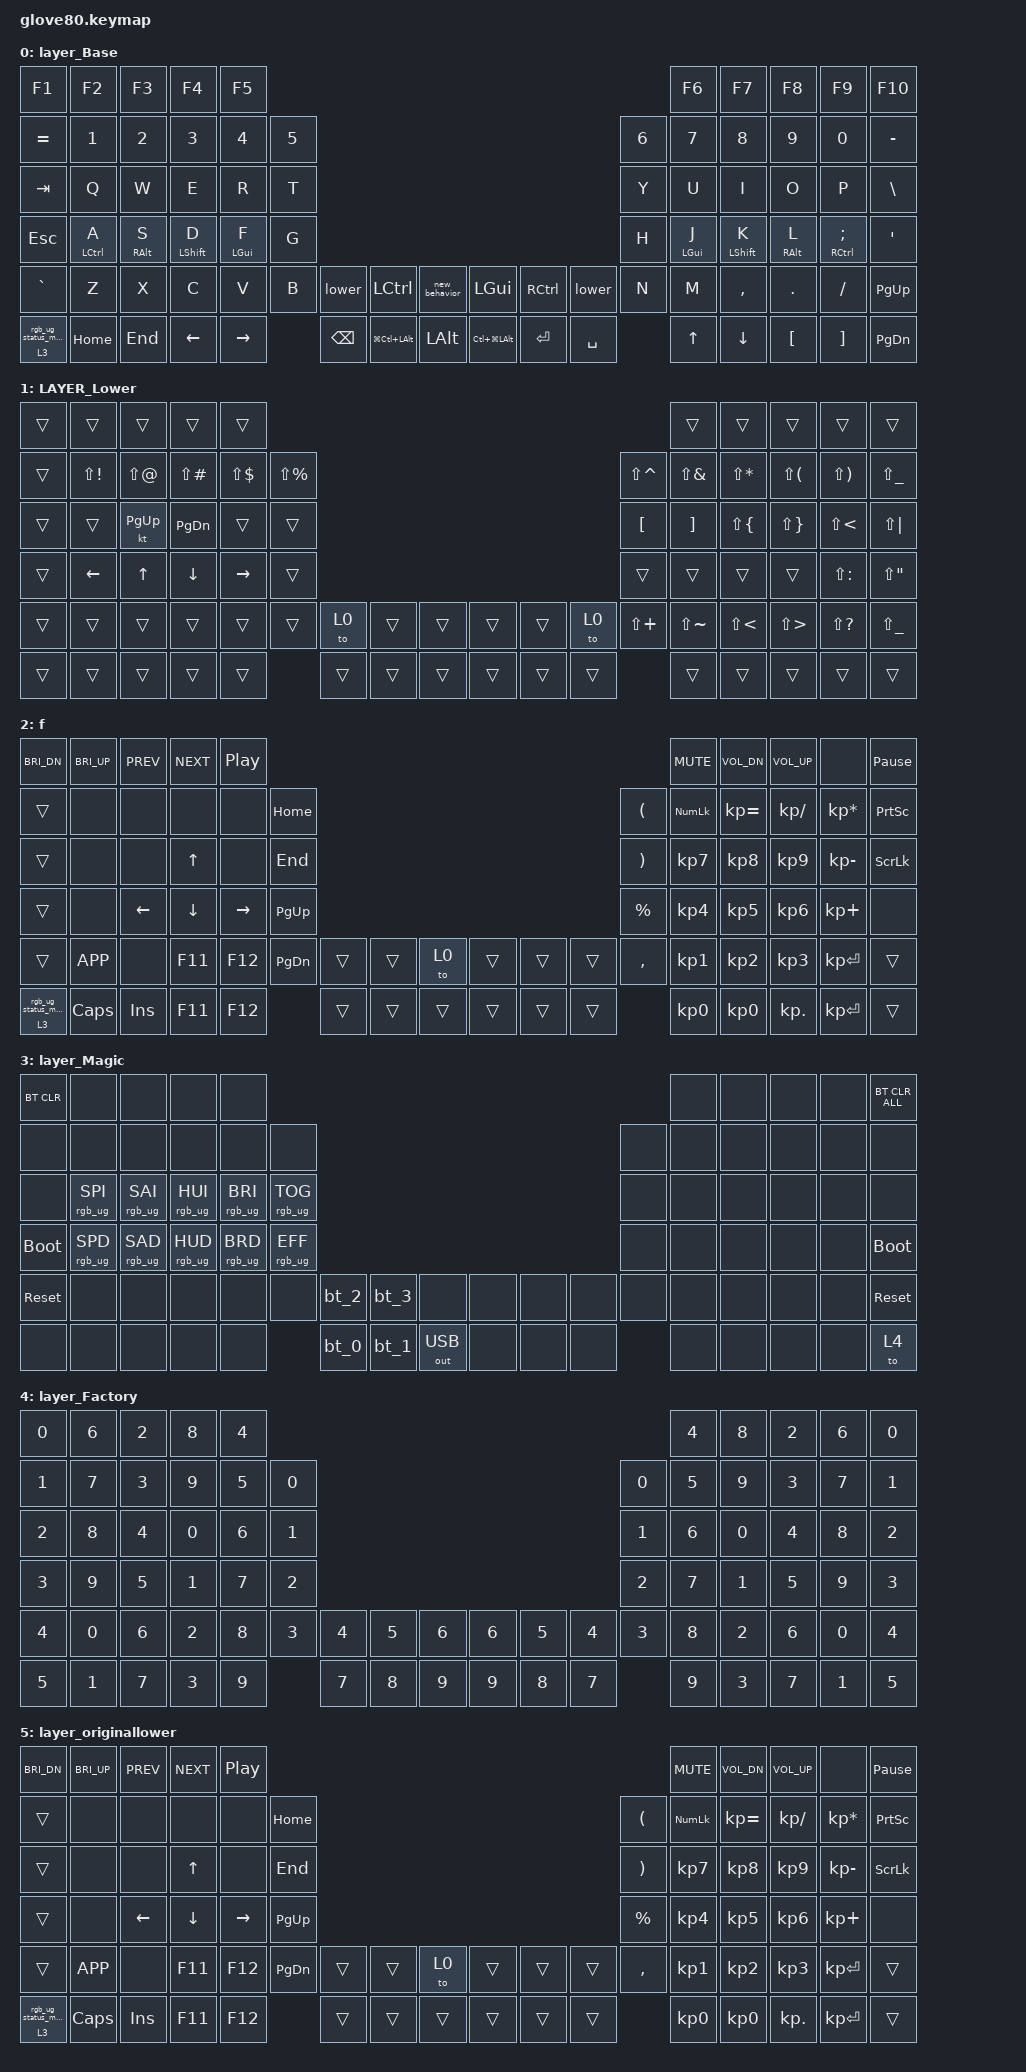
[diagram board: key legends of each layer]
/*
 * Copyright (c) 2020 The ZMK Contributors
 * Copyright (c) 2023 Innaworks Development Limited, trading as MoErgo
 *
 * SPDX-License-Identifier: MIT
 */
/* THIS FILE WAS GENERATED BY GLOVE80 LAYOUT EDITOR
 *
 * This file was generated automatically. You may or may not want to
 * edit it directly.
 */
/* Include all behaviour includes needed */

#include <behaviors.dtsi>
#include <dt-bindings/zmk/bt.h>
#include <dt-bindings/zmk/keys.h>
#include <dt-bindings/zmk/keys.h>
#include <dt-bindings/zmk/outputs.h>
#include <dt-bindings/zmk/rgb.h>

/* Automatically generated layer name #define */

#define LAYER_Base 0
#define LAYER_Lower 1
#define LAYER_Magic 2
#define LAYER_Factory 3
#define LAYER_originallower 4

/* Custom Device-tree */
/* Glove80 system behavior & macros */

/ {
    behaviors {
        // For the "layer" key, it'd nice to be able to use it as either a shift or a toggle.
        // Configure it as a tap dance, so the first tap (or hold) is a &mo and the second tap is a &to

        lower: lower {
            compatible = "zmk,behavior-tap-dance";
            label = "LAYER_TAP_DANCE";
            #binding-cells = <0>;
            tapping-term-ms = <200>;
            bindings = <&mo 1>, <&to 1>;
        };
    };
};

/ {
    macros {
        rgb_ug_status_macro: rgb_ug_status_macro {
            label = "RGB_UG_STATUS";
            compatible = "zmk,behavior-macro";
            #binding-cells = <0>;
            bindings = <&rgb_ug RGB_STATUS>;
        };
    };
};

/ {
    #ifdef BT_DISC_CMD

    behaviors {
        bt_0: bt_0 {
            compatible = "zmk,behavior-tap-dance";
            label = "BT_0";
            #binding-cells = <0>;
            tapping-term-ms = <200>;
            bindings = <&bt_select_0>, <&bt BT_DISC 0>;
        };

        bt_1: bt_1 {
            compatible = "zmk,behavior-tap-dance";
            label = "BT_1";
            #binding-cells = <0>;
            tapping-term-ms = <200>;
            bindings = <&bt_select_1>, <&bt BT_DISC 1>;
        };

        bt_2: bt_2 {
            compatible = "zmk,behavior-tap-dance";
            label = "BT_2";
            #binding-cells = <0>;
            tapping-term-ms = <200>;
            bindings = <&bt_select_2>, <&bt BT_DISC 2>;
        };

        bt_3: bt_3 {
            compatible = "zmk,behavior-tap-dance";
            label = "BT_3";
            #binding-cells = <0>;
            tapping-term-ms = <200>;
            bindings = <&bt_select_3>, <&bt BT_DISC 3>;
        };
    };

    macros {
        bt_select_0: bt_select_0 {
            label = "BT_SELECT_0";
            compatible = "zmk,behavior-macro";
            #binding-cells = <0>;
            bindings = <&out OUT_BLE &bt BT_SEL 0>;
        };

        bt_select_1: bt_select_1 {
            label = "BT_SELECT_1";
            compatible = "zmk,behavior-macro";
            #binding-cells = <0>;
            bindings = <&out OUT_BLE &bt BT_SEL 1>;
        };

        bt_select_2: bt_select_2 {
            label = "BT_SELECT_2";
            compatible = "zmk,behavior-macro";
            #binding-cells = <0>;
            bindings = <&out OUT_BLE &bt BT_SEL 2>;
        };

        bt_select_3: bt_select_3 {
            label = "BT_SELECT_3";
            compatible = "zmk,behavior-macro";
            #binding-cells = <0>;
            bindings = <&out OUT_BLE &bt BT_SEL 3>;
        };
    };

    #else

    macros {
        bt_0: bt_0 {
            label = "BT_0";
            compatible = "zmk,behavior-macro";
            #binding-cells = <0>;
            bindings = <&out OUT_BLE &bt BT_SEL 0>;
        };

        bt_1: bt_1 {
            label = "BT_1";
            compatible = "zmk,behavior-macro";
            #binding-cells = <0>;
            bindings = <&out OUT_BLE &bt BT_SEL 1>;
        };

        bt_2: bt_2 {
            label = "BT_2";
            compatible = "zmk,behavior-macro";
            #binding-cells = <0>;
            bindings = <&out OUT_BLE &bt BT_SEL 2>;
        };

        bt_3: bt_3 {
            label = "BT_3";
            compatible = "zmk,behavior-macro";
            #binding-cells = <0>;
            bindings = <&out OUT_BLE &bt BT_SEL 3>;
        };
    };

    #endif
};

/ {
    behaviors {
        magic: magic {
            compatible = "zmk,behavior-hold-tap";
            label = "MAGIC_HOLD_TAP";
            #binding-cells = <2>;
            flavor = "tap-preferred";
            tapping-term-ms = <200>;
            bindings = <&mo>, <&rgb_ug_status_macro>;
        };
    };
};

/* #define for key positions */

#define POS_LH_T1 52
#define POS_LH_T2 53
#define POS_LH_T3 54
#define POS_LH_T4 69
#define POS_LH_T5 70
#define POS_LH_T6 71
#define POS_LH_C1R2 15
#define POS_LH_C1R3 27
#define POS_LH_C1R4 39
#define POS_LH_C1R5 51
#define POS_LH_C2R1 4
#define POS_LH_C2R2 14
#define POS_LH_C2R3 26
#define POS_LH_C2R4 38
#define POS_LH_C2R5 50
#define POS_LH_C2R6 68
#define POS_LH_C3R1 3
#define POS_LH_C3R2 13
#define POS_LH_C3R3 25
#define POS_LH_C3R4 37
#define POS_LH_C3R5 49
#define POS_LH_C3R6 67
#define POS_LH_C4R1 2
#define POS_LH_C4R2 12
#define POS_LH_C4R3 24
#define POS_LH_C4R4 36
#define POS_LH_C4R5 48
#define POS_LH_C4R6 66
#define POS_LH_C5R1 1
#define POS_LH_C5R2 11
#define POS_LH_C5R3 23
#define POS_LH_C5R4 35
#define POS_LH_C5R5 47
#define POS_LH_C5R6 65
#define POS_LH_C6R1 0
#define POS_LH_C6R2 10
#define POS_LH_C6R3 22
#define POS_LH_C6R4 34
#define POS_LH_C6R5 46
#define POS_LH_C6R6 64
#define POS_RH_T1 57
#define POS_RH_T2 56
#define POS_RH_T3 55
#define POS_RH_T4 74
#define POS_RH_T5 73
#define POS_RH_T6 72
#define POS_RH_C1R2 16
#define POS_RH_C1R3 28
#define POS_RH_C1R4 40
#define POS_RH_C1R5 58
#define POS_RH_C2R1 5
#define POS_RH_C2R2 17
#define POS_RH_C2R3 29
#define POS_RH_C2R4 41
#define POS_RH_C2R5 59
#define POS_RH_C2R6 75
#define POS_RH_C3R1 6
#define POS_RH_C3R2 18
#define POS_RH_C3R3 30
#define POS_RH_C3R4 42
#define POS_RH_C3R5 60
#define POS_RH_C3R6 76
#define POS_RH_C4R1 7
#define POS_RH_C4R2 19
#define POS_RH_C4R3 31
#define POS_RH_C4R4 43
#define POS_RH_C4R5 61
#define POS_RH_C4R6 77
#define POS_RH_C5R1 8
#define POS_RH_C5R2 20
#define POS_RH_C5R3 32
#define POS_RH_C5R4 44
#define POS_RH_C5R5 62
#define POS_RH_C5R6 78
#define POS_RH_C6R1 9
#define POS_RH_C6R2 21
#define POS_RH_C6R3 33
#define POS_RH_C6R4 45
#define POS_RH_C6R5 63
#define POS_RH_C6R6 79

/* Custom Defined Behaviors */

/ {
    //////////////////////////////////////////////////////////////////////
    // NOTE: Use the `#define` settings below to customize this keymap! //
    //////////////////////////////////////////////////////////////////////
    // IMPORTANT: You need to set Firmware Version to "pr19.zephyr-3-2" //
    // under Settings > Advanced Settings in the Glove80 Layout Editor  //
    // if you want to use the `hold-trigger-on-release` feature in ZMK. //
    //////////////////////////////////////////////////////////////////////
    // CAUTION: PR19 firmware is not production quality; it has issues: //
    // https://discord.com/channels/877392805654306816/1137025078979203142
    //////////////////////////////////////////////////////////////////////
    //
    // Sunaku's Keymap v25 featuring the Engrammer layout with Miryoku
    // - https://github.com/sunaku/glove80-keymaps
    //
    //////////////////////////////////////////////////////////////////////

    behaviors {
        // |------------------------|------------------------|
        // | LEFT_HAND_KEYS         |        RIGHT_HAND_KEYS |
        // |                        |                        |
        // |  0  1  2  3  4         |          5  6  7  8  9 |
        // | 10 11 12 13 14 15      |      16 17 18 19 20 21 |
        // | 22 23 24 25 26 27      |      28 29 30 31 32 33 |
        // | 34 35 36 37 38 39      |      40 41 42 43 44 45 |
        // | 46 47 48 49 50 51      |      58 59 60 61 62 63 |
        // | 64 65 66 67 68         |         75 76 77 78 79 |
        // |                69 52   |   57 74                |
        // |                 70 53  |  56 73                 |
        // |                  71 54 | 55 72                  |
        // |------------------------|------------------------|
        //

        #define LEFT_HAND_KEYS      \
          0  1  2  3  4         \
         10 11 12 13 14 15      \
         22 23 24 25 26 27      \
         34 35 36 37 38 39      \
         46 47 48 49 50 51      \
         64 65 66 67 68
    #define RIGHT_HAND_KEYS     \
                                           5  6  7  8  9 \
                                       16 17 18 19 20 21 \
                                       28 29 30 31 32 33 \
                                       40 41 42 43 44 45 \
                                       58 59 60 61 62 63 \
                                          75 76 77 78 79
    #define THUMB_KEYS          \
                        69 52       57 74                \
                         70 53     56 73                 \
                          71 54   55 72

        //
        // Home row mod-tap keys for all except index fingers
        //

        homey_left: miryoku_home_row_mods_left_hand {
            compatible = "zmk,behavior-hold-tap";
            label = "HOME_ROW_MODS_LEFT_HAND";
            flavor = "tap-preferred";
            hold-trigger-key-positions = <RIGHT_HAND_KEYS THUMB_KEYS>;
            hold-trigger-on-release; // wait for other home row mods
            tapping-term-ms = <200>;
            quick-tap-ms = <200>;
            #binding-cells = <2>;
            bindings = <&kp>, <&kp>;

            global-quick-tap;
            retro-tap;
        };

        homey_right: miryoku_home_row_mods_right_hand {
            compatible = "zmk,behavior-hold-tap";
            label = "HOME_ROW_MODS_RIGHT_HAND";
            flavor = "tap-preferred";
            hold-trigger-key-positions = <LEFT_HAND_KEYS THUMB_KEYS>;
            hold-trigger-on-release; // wait for other home row mods
            tapping-term-ms = <200>;
            quick-tap-ms = <200>;
            #binding-cells = <2>;
            bindings = <&kp>, <&kp>;

            global-quick-tap;
            retro-tap;
        };

        homey_left_without_retro: miryoku_home_row_mods_left_hand2 {
            compatible = "zmk,behavior-hold-tap";
            label = "HOME_ROW_MODS_LEFT_HAND2";
            flavor = "tap-preferred";
            hold-trigger-key-positions = <RIGHT_HAND_KEYS THUMB_KEYS>;
            hold-trigger-on-release; // wait for other home row mods
            tapping-term-ms = <200>;
            #binding-cells = <2>;
            bindings = <&kp>, <&kp>;

            quick-tap-ms = <200>;
        };

        homey_right_without_retro: miryoku_home_row_mods_right_hand2 {
            compatible = "zmk,behavior-hold-tap";
            label = "HOME_ROW_MODS_RIGHT_HAND2";
            flavor = "tap-preferred";
            hold-trigger-key-positions = <LEFT_HAND_KEYS THUMB_KEYS>;
            hold-trigger-on-release; // wait for other home row mods
            tapping-term-ms = <200>;
            #binding-cells = <2>;
            bindings = <&kp>, <&kp>;

            quick-tap-ms = <200>;
        };

        new_behavior: new_behavior {
            compatible = "zmk,behavior-caps-word";
            label = "NEW_BEHAVIOR";
            #binding-cells = <0>;
            continue-list = <BACKSPACE DELETE UNDERSCORE MINUS>;
        };
    };
};

/ {
    combos {
        compatible = "zmk,combos";

        underscore {
            bindings = <&kp LS(MINUS)>;
            key-positions = <20 21>;
        };

        colon {
            bindings = <&kp LS(SEMI)>;
            key-positions = <30 29>;
        };

        doublequotes {
            bindings = <&kp LS(SINGLE_QUOTE)>;
            key-positions = <40 41>;
        };

        questionmark {
            bindings = <&kp LS(SLASH)>;
            key-positions = <61 62>;
        };

        girgolina {
            bindings = <&kp LS(GRAVE)>;
            key-positions = <24 25>;
        };

        esc {
            bindings = <&kp ESC>;
            key-positions = <41 42>;
        };

        tab {
            bindings = <&kp TAB>;
            key-positions = <42 43>;
        };

        plus {
            bindings = <&kp PLUS>;
            key-positions = <10 11>;
        };

        grave {
            bindings = <&kp GRAVE>;
            key-positions = <24 23>;
        };

        openparent {
            bindings = <&kp LEFT_PARENTHESIS>;
            key-positions = <25 26>;
        };

        closeparent {
            bindings = <&kp RIGHT_PARENTHESIS>;
            key-positions = <26 27>;
        };

        smartcaps {
            bindings = <&caps_word>;
            key-positions = <37 38>;
        };

        cmdz {
            bindings = <&kp LG(Z)>;
            key-positions = <47 48>;
        };

        cmdx {
            bindings = <&kp LG(X)>;
            key-positions = <48 49>;
        };

        cmdc {
            bindings = <&kp LG(C)>;
            key-positions = <49 50>;
        };

        cmdv {
            bindings = <&kp LG(V)>;
            key-positions = <49 50>;
        };

        opensqrbracket {
            bindings = <&kp LEFT_BRACKET>;
            key-positions = <31 30>;
        };

        closesqrbracket {
            bindings = <&kp RIGHT_BRACKET>;
            key-positions = <31 32>;
        };

        backslash {
            bindings = <&kp BACKSLASH>;
            key-positions = <28 29>;
        };

        singlequote {
            bindings = <&kp SINGLE_QUOTE>;
            key-positions = <43 44>;
        };

        opencurlybracket {
            bindings = <&kp LEFT_BRACE>;
            key-positions = <59 60>;
        };

        closecurlybracket {
            bindings = <&kp RIGHT_BRACE>;
            key-positions = <61 60>;
        };

        pipe {
            bindings = <&kp PIPE>;
            key-positions = <58 59>;
        };
    };

    keymap {
        compatible = "zmk,keymap";

        layer_Base {
            bindings = <
&kp F1      &kp F2               &kp F3              &kp F4               &kp F5                                                                                                                                     &kp F6                             &kp F7                &kp F8               &kp F9                   &kp F10
&kp EQUAL   &kp N1               &kp N2              &kp N3               &kp N4                            &kp N5                                                                                           &kp N6  &kp N7                             &kp N8                &kp N9               &kp N0                   &kp MINUS
&kp TAB     &kp Q                &kp W               &kp E                &kp R                             &kp T                                                                                            &kp Y   &kp U                              &kp I                 &kp O                &kp P                    &kp BSLH
&kp ESC     &homey_left LCTRL A  &homey_left RALT S  &homey_left LSHFT D  &homey_left_without_retro LGUI F  &kp G                                                                                            &kp H   &homey_right_without_retro LGUI J  &homey_right LSHFT K  &homey_right RALT L  &homey_right RCTRL SEMI  &kp SQT
&kp GRAVE   &kp Z                &kp X               &kp C                &kp V                             &kp B   &lower    &kp LCTRL             &new_behavior    &kp LGUI          &kp RCTRL  &lower     &kp N   &kp M                              &kp COMMA             &kp DOT              &kp FSLH                 &kp PG_UP
&magic 3 0  &kp HOME             &kp END             &kp LEFT             &kp RIGHT                                 &kp BSPC  &kp LG(LC(LEFT_ALT))  &kp LALT         &kp LC(LG(LALT))  &kp RET    &kp SPACE          &kp UP                             &kp DOWN              &kp LBKT             &kp RBKT                 &kp PG_DN
            >;
        };

        LAYER_Lower {
            bindings = <
&trans  &trans        &trans        &trans          &trans                                                                                        &trans         &trans        &trans        &trans         &trans
&trans  &kp LS(EXCL)  &kp LS(AT)    &kp LS(POUND)   &kp LS(DLLR)  &kp LS(PRCNT)                                                    &kp LS(CARET)  &kp LS(AMPS)   &kp LS(STAR)  &kp LS(LPAR)  &kp LS(RPAR)   &kp LS(UNDER)
&trans  &trans        &kt PAGE_UP   &kp PAGE_DOWN   &trans        &trans                                                           &kp LBKT       &kp RBKT       &kp LS(LBRC)  &kp LS(RBRC)  &kp LS(LT)     &kp LS(PIPE)
&trans  &kp LEFT      &kp UP_ARROW  &kp DOWN_ARROW  &kp RIGHT     &trans                                                           &trans         &trans         &trans        &trans        &kp LS(COLON)  &kp LS(DQT)
&trans  &trans        &trans        &trans          &trans        &trans         &to 0   &trans  &trans    &trans  &trans  &to 0   &kp LS(PLUS)   &kp LS(TILDE)  &kp LS(LT)    &kp LS(GT)    &kp LS(QMARK)  &kp LS(UNDER)
&trans  &trans        &trans        &trans          &trans                       &trans  &trans  &trans    &trans  &trans  &trans                 &trans         &trans        &trans        &trans         &trans
            >;
        };

        layer_Lowerf {
            bindings = <
&kp C_BRI_DN  &kp C_BRI_UP  &kp C_PREV      &kp C_NEXT      &kp C_PP                                                                                             &kp C_MUTE  &kp C_VOL_DN  &kp C_VOL_UP  &none            &kp PAUSE_BREAK
&trans        &none         &none           &none           &none            &kp HOME                                                     &kp LEFT_PARENTHESIS   &kp KP_NUM  &kp KP_EQUAL  &kp KP_SLASH  &kp KP_MULTIPLY  &kp PRINTSCREEN
&trans        &none         &none           &kp UP_ARROW    &none            &kp END                                                      &kp RIGHT_PARENTHESIS  &kp KP_N7   &kp KP_N8     &kp KP_N9     &kp KP_MINUS     &kp SCROLLLOCK
&trans        &none         &kp LEFT_ARROW  &kp DOWN_ARROW  &kp RIGHT_ARROW  &kp PG_UP                                                    &kp PERCENT            &kp KP_N4   &kp KP_N5     &kp KP_N6     &kp KP_PLUS      &none
&trans        &kp K_APP     &none           &kp F11         &kp F12          &kp PG_DN  &trans  &trans  &to 0     &trans  &trans  &trans  &kp COMMA              &kp KP_N1   &kp KP_N2     &kp KP_N3     &kp KP_ENTER     &trans
&magic 3 0    &kp CAPS      &kp INS         &kp F11         &kp F12                     &trans  &trans  &trans    &trans  &trans  &trans                         &kp KP_N0   &kp KP_N0     &kp KP_DOT    &kp KP_ENTER     &trans
            >;

            label = "f";
        };

        layer_Magic {
            bindings = <
&bt BT_CLR   &none            &none            &none            &none                                                                                       &none  &none  &none  &none  &bt BT_CLR_ALL
&none        &none            &none            &none            &none            &none                                                               &none  &none  &none  &none  &none  &none
&none        &rgb_ug RGB_SPI  &rgb_ug RGB_SAI  &rgb_ug RGB_HUI  &rgb_ug RGB_BRI  &rgb_ug RGB_TOG                                                     &none  &none  &none  &none  &none  &none
&bootloader  &rgb_ug RGB_SPD  &rgb_ug RGB_SAD  &rgb_ug RGB_HUD  &rgb_ug RGB_BRD  &rgb_ug RGB_EFF                                                     &none  &none  &none  &none  &none  &bootloader
&sys_reset   &none            &none            &none            &none            &none            &bt_2  &bt_3  &none           &none  &none  &none  &none  &none  &none  &none  &none  &sys_reset
&none        &none            &none            &none            &none                             &bt_0  &bt_1  &out OUT_USB    &none  &none  &none         &none  &none  &none  &none  &to 4
            >;
        };

        layer_Factory {
            bindings = <
&kp NUMBER_0  &kp NUMBER_6  &kp NUMBER_2  &kp NUMBER_8  &kp NUMBER_4                                                                                                                    &kp NUMBER_4  &kp NUMBER_8  &kp NUMBER_2  &kp NUMBER_6  &kp NUMBER_0
&kp NUMBER_1  &kp NUMBER_7  &kp NUMBER_3  &kp NUMBER_9  &kp NUMBER_5  &kp NUMBER_0                                                                                        &kp NUMBER_0  &kp NUMBER_5  &kp NUMBER_9  &kp NUMBER_3  &kp NUMBER_7  &kp NUMBER_1
&kp NUMBER_2  &kp NUMBER_8  &kp NUMBER_4  &kp NUMBER_0  &kp NUMBER_6  &kp NUMBER_1                                                                                        &kp NUMBER_1  &kp NUMBER_6  &kp NUMBER_0  &kp NUMBER_4  &kp NUMBER_8  &kp NUMBER_2
&kp NUMBER_3  &kp NUMBER_9  &kp NUMBER_5  &kp NUMBER_1  &kp NUMBER_7  &kp NUMBER_2                                                                                        &kp NUMBER_2  &kp NUMBER_7  &kp NUMBER_1  &kp NUMBER_5  &kp NUMBER_9  &kp NUMBER_3
&kp NUMBER_4  &kp NUMBER_0  &kp NUMBER_6  &kp NUMBER_2  &kp NUMBER_8  &kp NUMBER_3  &kp NUMBER_4  &kp NUMBER_5  &kp NUMBER_6    &kp NUMBER_6  &kp NUMBER_5  &kp NUMBER_4  &kp NUMBER_3  &kp NUMBER_8  &kp NUMBER_2  &kp NUMBER_6  &kp NUMBER_0  &kp NUMBER_4
&kp NUMBER_5  &kp NUMBER_1  &kp NUMBER_7  &kp NUMBER_3  &kp NUMBER_9                &kp NUMBER_7  &kp NUMBER_8  &kp NUMBER_9    &kp NUMBER_9  &kp NUMBER_8  &kp NUMBER_7                &kp NUMBER_9  &kp NUMBER_3  &kp NUMBER_7  &kp NUMBER_1  &kp NUMBER_5
            >;
        };

        layer_originallower {
            bindings = <
&kp C_BRI_DN  &kp C_BRI_UP  &kp C_PREV      &kp C_NEXT      &kp C_PP                                                                                             &kp C_MUTE  &kp C_VOL_DN  &kp C_VOL_UP  &none            &kp PAUSE_BREAK
&trans        &none         &none           &none           &none            &kp HOME                                                     &kp LEFT_PARENTHESIS   &kp KP_NUM  &kp KP_EQUAL  &kp KP_SLASH  &kp KP_MULTIPLY  &kp PRINTSCREEN
&trans        &none         &none           &kp UP_ARROW    &none            &kp END                                                      &kp RIGHT_PARENTHESIS  &kp KP_N7   &kp KP_N8     &kp KP_N9     &kp KP_MINUS     &kp SCROLLLOCK
&trans        &none         &kp LEFT_ARROW  &kp DOWN_ARROW  &kp RIGHT_ARROW  &kp PG_UP                                                    &kp PERCENT            &kp KP_N4   &kp KP_N5     &kp KP_N6     &kp KP_PLUS      &none
&trans        &kp K_APP     &none           &kp F11         &kp F12          &kp PG_DN  &trans  &trans  &to 0     &trans  &trans  &trans  &kp COMMA              &kp KP_N1   &kp KP_N2     &kp KP_N3     &kp KP_ENTER     &trans
&magic 3 0    &kp CAPS      &kp INS         &kp F11         &kp F12                     &trans  &trans  &trans    &trans  &trans  &trans                         &kp KP_N0   &kp KP_N0     &kp KP_DOT    &kp KP_ENTER     &trans
            >;
        };
    };
};
